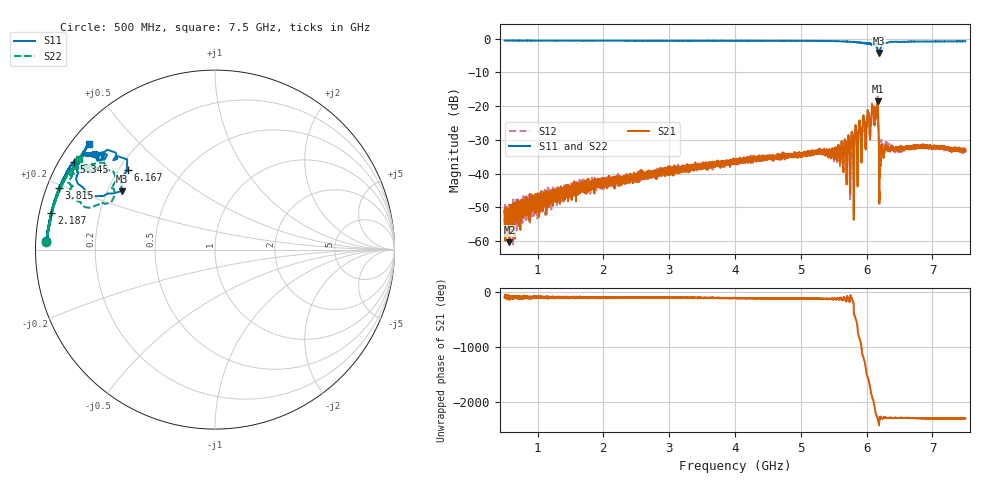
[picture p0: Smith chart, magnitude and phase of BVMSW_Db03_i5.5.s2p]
!Keysight Technologies,M9374A,MY55442783,A.12.55.05
!Date: Friday, May 21, 2021 11:10:44
!Correction: S11(Full 2 Port(1,2))
!S21(Full 2 Port(1,2))
!S12(Full 2 Port(1,2))
!S22(Full 2 Port(1,2))
!S2P File: Measurements: S11, S21, S12, S22:
# Hz S  RI  R 50
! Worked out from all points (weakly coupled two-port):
!   7001 points, 500 MHz to 7.5 GHz, reference 50 ohm
!   highest |S21| = -18.50 dB at 6.165 GHz (marker M1); lowest = -60.4 dB at 573 MHz (marker M2)
!   lowest |S11| = -4.2 dB at 6.188 GHz (marker M3), VSWR 4.18, Z = 12.9 + j13.5 ohm
!   |S11| at or under -10 dB: nowhere
!   |S22| runs from -4.0 to -0.5 dB; largest |S21 - S12| = 0.068
!   S11 on the Smith chart (normalised r, x): 500 MHz: 0.03, +0.03; 2.187 GHz: 0.03, +0.11; 3.815 GHz: 0.04, +0.19; 5.345 GHz: 0.04, +0.28; 6.167 GHz: 0.24, +0.37; 7.5 GHz: 0.05, +0.36
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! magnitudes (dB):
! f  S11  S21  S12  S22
! 500 MHz  -0.5  -51.3  -50.4  -0.5
! 573 MHz  -0.5  -60.4  -52.7  -0.5
! 1.667 GHz  -0.6  -43.5  -44.6  -0.6
! 2.187 GHz  -0.6  -41.7  -42.0  -0.6
! 2.834 GHz  -0.6  -39.4  -40.5  -0.6
! 3.815 GHz  -0.6  -36.2  -37.2  -0.6
! 4 GHz  -0.6  -36.5  -36.8  -0.7
! 5.167 GHz  -0.7  -34.3  -34.2  -0.7
! 5.345 GHz  -0.7  -33.9  -33.9  -0.7
! 5.7 GHz  -0.8  -39.7  -40.6  -0.9
! 5.723 GHz  -0.9  -28.7  -29.0  -0.9
! 5.755 GHz  -0.9  -37.5  -37.6  -1.0
! 5.776 GHz  -1.0  -27.7  -27.5  -1.0
! 5.801 GHz  -0.9  -42.6  -43.6  -1.0
! 6.097 GHz  -1.6  -21.6  -21.3  -1.5
! 6.146 GHz  -1.9  -21.5  -21.2  -2.4
! 6.165 GHz  -3.3  -18.5  -16.8  -3.5
! 6.167 GHz  -3.6  -19.7  -17.4  -3.6
! 6.188 GHz  -4.2  -34.3  -35.4  -3.9
! 6.223 GHz  -2.2  -32.7  -30.0  -2.0
! 6.334 GHz  -1.1  -32.5  -31.3  -1.0
! 7.5 GHz  -0.7  -33.3  -32.8  -0.8
